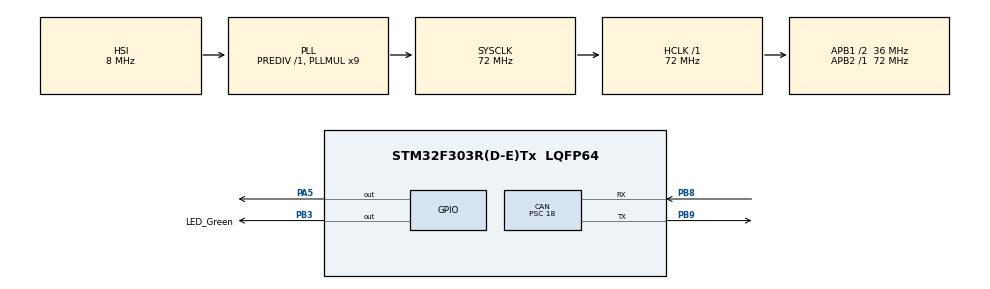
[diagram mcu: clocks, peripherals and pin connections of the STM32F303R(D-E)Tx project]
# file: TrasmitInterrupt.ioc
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CAN.BS1=CAN_BS1_4TQ
CAN.BS2=CAN_BS2_3TQ
CAN.CalculateTimeBit=4000
CAN.CalculateTimeQuantum=500.0
CAN.Prescaler=18
CAN.SJW=CAN_SJW_4TQ
Mcu.Family=STM32F3
Mcu.Name=STM32F303R(D-E)Tx
Mcu.Package=LQFP64
NVIC.CAN_RX1_IRQn=true\:0\:0\:false\:false\:true\:true
NVIC.CAN_SCE_IRQn=true\:0\:0\:false\:false\:true\:true
NVIC.PriorityGroup=NVIC_PRIORITYGROUP_4
NVIC.TIM1_UP_TIM16_IRQn=true\:0\:0\:false\:false\:true\:true
NVIC.USB_HP_CAN_TX_IRQn=true\:0\:0\:false\:false\:true\:true
NVIC.USB_LP_CAN_RX0_IRQn=true\:0\:0\:false\:false\:true\:true
PA5.Signal=GPIO_Output
PB3.GPIO_Label=LED_Green
PB3.Signal=GPIO_Output
PB8.Mode=Master
PB8.Signal=CAN_RX
PB9.Mode=Master
PB9.Signal=CAN_TX
PF0-OSC_IN.Mode=HSE-External-Oscillator
PF0-OSC_IN.Signal=RCC_OSC_IN
PF1-OSC_OUT.Mode=HSE-External-Oscillator
PF1-OSC_OUT.Signal=RCC_OSC_OUT
ProjectManager.HeapSize=0x200
ProjectManager.StackSize=0x400
ProjectManager.TargetToolchain=TrueSTUDIO
RCC.AHBFreq_Value=72000000
RCC.APB1CLKDivider=RCC_HCLK_DIV2
RCC.APB1Freq_Value=36000000
RCC.APB1TimFreq_Value=72000000
RCC.APB2Freq_Value=72000000
RCC.APB2TimFreq_Value=72000000
RCC.CortexFreq_Value=72000000
RCC.HCLKFreq_Value=72000000
RCC.HSE_VALUE=8000000
RCC.HSI_VALUE=8000000
RCC.LSE_VALUE=32768
RCC.PLLMUL=RCC_PLL_MUL9
RCC.SYSCLKFreq_VALUE=72000000
RCC.SYSCLKSourceVirtual=RCC_SYSCLKSOURCE_PLLCLK
RCC.USBFreq_Value=72000000
TIM16.Period=719
TIM16.Prescaler=9999
VP_TIM16_VS_ClockSourceINT.Mode=Enable_Timer
board=TrasmitInterrupt

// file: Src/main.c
/**
  ******************************************************************************
  * @file           : main.c
  * @brief          : Main program body
  ******************************************************************************
  ** This notice applies to any and all portions of this file
  * that are not between comment pairs USER CODE BEGIN and
  * USER CODE END. Other portions of this file, whether
  * inserted by the user or by software development tools
  * are owned by their respective copyright owners.
  *
  * COPYRIGHT(c) 2018 STMicroelectronics
  *
  * Redistribution and use in source and binary forms, with or without modification,
  * are permitted provided that the following conditions are met:
  *   1. Redistributions of source code must retain the above copyright notice,
  *      this list of conditions and the following disclaimer.
  *   2. Redistributions in binary form must reproduce the above copyright notice,
  *      this list of conditions and the following disclaimer in the documentation
  *      and/or other materials provided with the distribution.
  *   3. Neither the name of STMicroelectronics nor the names of its contributors
  *      may be used to endorse or promote products derived from this software
  *      without specific prior written permission.
  *
  * THIS SOFTWARE IS PROVIDED BY THE COPYRIGHT HOLDERS AND CONTRIBUTORS "AS IS"
  * AND ANY EXPRESS OR IMPLIED WARRANTIES, INCLUDING, BUT NOT LIMITED TO, THE
  * IMPLIED WARRANTIES OF MERCHANTABILITY AND FITNESS FOR A PARTICULAR PURPOSE ARE
  * DISCLAIMED. IN NO EVENT SHALL THE COPYRIGHT HOLDER OR CONTRIBUTORS BE LIABLE
  * FOR ANY DIRECT, INDIRECT, INCIDENTAL, SPECIAL, EXEMPLARY, OR CONSEQUENTIAL
  * DAMAGES (INCLUDING, BUT NOT LIMITED TO, PROCUREMENT OF SUBSTITUTE GOODS OR
  * SERVICES; LOSS OF USE, DATA, OR PROFITS; OR BUSINESS INTERRUPTION) HOWEVER
  * CAUSED AND ON ANY THEORY OF LIABILITY, WHETHER IN CONTRACT, STRICT LIABILITY,
  * OR TORT (INCLUDING NEGLIGENCE OR OTHERWISE) ARISING IN ANY WAY OUT OF THE USE
  * OF THIS SOFTWARE, EVEN IF ADVISED OF THE POSSIBILITY OF SUCH DAMAGE.
  *
  ******************************************************************************
  */
#include "main.h"
#include "stm32f3xx_hal.h"
#include "can.h"
#include "tim.h"
#include "gpio.h"

/* USER CODE BEGIN PV */
/* Private variables ---------------------------------------------------------*/

static uint8_t DataToTransmit;
CanTxMsgTypeDef Tx; //struktura przechwouj¹ca ramkê do wys³ania

/* USER CODE END PV */

void SystemClock_Config(void);

/* USER CODE BEGIN PFP */
/* Private function prototypes -----------------------------------------------*/
void HAL_CAN_TxCpltCallback (CAN_HandleTypeDef *hcan)
{
	HAL_GPIO_WritePin(GPIOA,GPIO_PIN_5, GPIO_PIN_SET); //œwiecimy jeœli wyœlemy ramke
	TIM16->CNT=0;
	HAL_TIM_Base_Start_IT(&htim16);
}

void HAL_TIM_PeriodElapsedCallback(TIM_HandleTypeDef *htim)
{
	if(htim->Instance == TIM16)
	{
		HAL_GPIO_WritePin(GPIOA,GPIO_PIN_5, GPIO_PIN_RESET);
		HAL_TIM_Base_Stop_IT(&htim16);
	}
}
/* USER CODE END PFP */

int main(void)
{

  /* MCU Configuration----------------------------------------------------------*/

  /* Reset of all peripherals, Initializes the Flash interface and the Systick. */
  HAL_Init();

  /* Configure the system clock */
  SystemClock_Config();

  /* Initialize all configured peripherals */
  MX_GPIO_Init();
  MX_CAN_Init();
  MX_TIM16_Init();
  /* USER CODE BEGIN 2 */
  //dane do wys³ania
  DataToTransmit = 0x13;

  //konfiguracja ramki
  Tx.DLC = 3; //ilosc bajtów danych
  Tx.RTR = CAN_RTR_DATA;
  Tx.IDE = CAN_ID_STD;
  Tx.StdId = 0x0201; //ID ramki, bardzo wa¿ne, wykorzystywane w filtrach
  Tx.Data[0] = 0x3D;
  Tx.Data[1] = 0x40;
  Tx.Data[2] = 0x00;

  //przekazanie konfiguracji ramki do g³ównej struktury
  hcan.pTxMsg = &Tx;
//  HAL_GPIO_WritePin(GPIOA, GPIO_PIN_5, GPIO_PIN_RESET);

  HAL_TIM_Base_Start_IT(&htim16); //tutaj wykonujemy start, stop i wyzerowanie timera, ¿eby wyeliminowac b³¹d, w którym
  HAL_TIM_Base_Stop_IT(&htim16);  // pierwsze przerwanie nie dzia³a³o poprawnie
  TIM16->CNT=0;
  /* USER CODE END 2 */

  /* Infinite loop */
  /* USER CODE BEGIN WHILE */
  while (1)
  {
//	  if(HAL_CAN_Transmit_IT(&hcan) == HAL_OK)
//		  HAL_GPIO_WritePin(GPIOA,GPIO_PIN_5, GPIO_PIN_SET);
//	  HAL_Delay(100);
//	  HAL_GPIO_WritePin(GPIOA,GPIO_PIN_5, GPIO_PIN_RESET);
//	  HAL_Delay(2900);
	  HAL_CAN_Transmit_IT(&hcan);
	  HAL_Delay(5000);
  /* USER CODE END WHILE */

  }

}

void SystemClock_Config(void)
{

  RCC_OscInitTypeDef RCC_OscInitStruct;
  RCC_ClkInitTypeDef RCC_ClkInitStruct;
  RCC_PeriphCLKInitTypeDef PeriphClkInit;

    /**Initializes the CPU, AHB and APB busses clocks
    */
  RCC_OscInitStruct.OscillatorType = RCC_OSCILLATORTYPE_HSI;
  RCC_OscInitStruct.HSIState = RCC_HSI_ON;
  RCC_OscInitStruct.HSICalibrationValue = 16;
  RCC_OscInitStruct.PLL.PLLState = RCC_PLL_ON;
  RCC_OscInitStruct.PLL.PLLSource = RCC_PLLSOURCE_HSI;
  RCC_OscInitStruct.PLL.PLLMUL = RCC_PLL_MUL9;
  RCC_OscInitStruct.PLL.PREDIV = RCC_PREDIV_DIV1;
  if (HAL_RCC_OscConfig(&RCC_OscInitStruct) != HAL_OK)
  {
    _Error_Handler(__FILE__, __LINE__);
  }

    /**Initializes the CPU, AHB and APB busses clocks
    */
  RCC_ClkInitStruct.ClockType = RCC_CLOCKTYPE_HCLK|RCC_CLOCKTYPE_SYSCLK
                              |RCC_CLOCKTYPE_PCLK1|RCC_CLOCKTYPE_PCLK2;
  RCC_ClkInitStruct.SYSCLKSource = RCC_SYSCLKSOURCE_PLLCLK;
  RCC_ClkInitStruct.AHBCLKDivider = RCC_SYSCLK_DIV1;
  RCC_ClkInitStruct.APB1CLKDivider = RCC_HCLK_DIV2;
  RCC_ClkInitStruct.APB2CLKDivider = RCC_HCLK_DIV1;

  if (HAL_RCC_ClockConfig(&RCC_ClkInitStruct, FLASH_LATENCY_2) != HAL_OK)
  {
    _Error_Handler(__FILE__, __LINE__);
  }

  PeriphClkInit.PeriphClockSelection = RCC_PERIPHCLK_TIM16;
  PeriphClkInit.Tim16ClockSelection = RCC_TIM16CLK_HCLK;
  if (HAL_RCCEx_PeriphCLKConfig(&PeriphClkInit) != HAL_OK)
  {
    _Error_Handler(__FILE__, __LINE__);
  }

    /**Configure the Systick interrupt time
    */
  HAL_SYSTICK_Config(HAL_RCC_GetHCLKFreq()/1000);

    /**Configure the Systick
    */
  HAL_SYSTICK_CLKSourceConfig(SYSTICK_CLKSOURCE_HCLK);

  /* SysTick_IRQn interrupt configuration */
  HAL_NVIC_SetPriority(SysTick_IRQn, 0, 0);
}

void _Error_Handler(char *file, int line)
{
  while(1)
  {
  }
}

/************************ (C) COPYRIGHT STMicroelectronics *****END OF FILE****/
